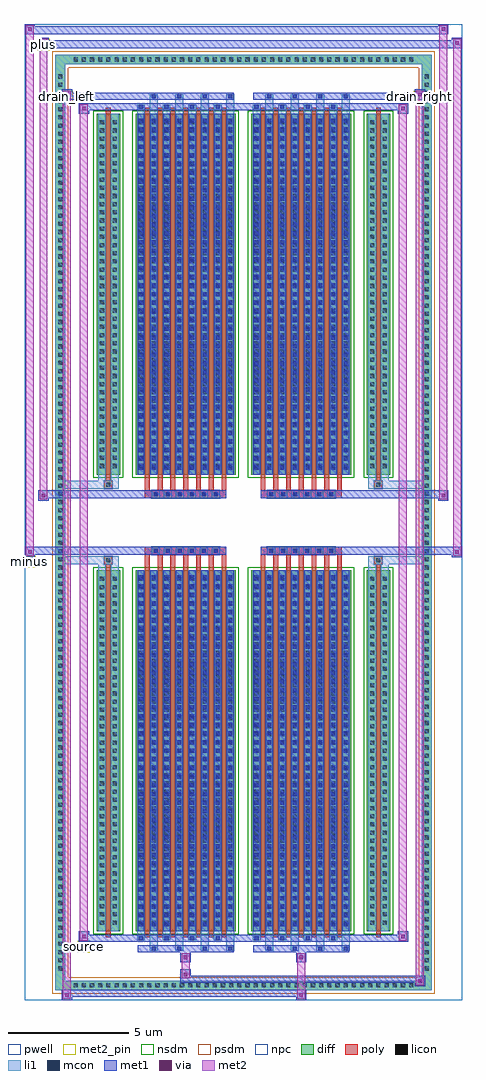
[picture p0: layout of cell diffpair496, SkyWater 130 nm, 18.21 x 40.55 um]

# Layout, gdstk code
import gdstk
lib = gdstk.Library(unit=1e-6, precision=5e-09)
def R(c, l, rs):  # rectangles x0, y0, x1, y1
    for r in rs: c.add(gdstk.rectangle(r[:2], r[2:], *l))
def A(c, l, x, y, w, h, nx, ny, dx, dy):  # array of equal rectangles
    R(c, l, [(x+i*dx, y+j*dy, x+i*dx+w, y+j*dy+h) for i in range(nx) for j in range(ny)])
def P(c, l, *ps):  # polygons
    for p in ps: c.add(gdstk.Polygon(p, *l))
pwell = (64, 44)
diff = (65, 20)
poly = (66, 20)
licon = (66, 44)
li1 = (67, 20)
mcon = (67, 44)
met1 = (68, 20)
via = (68, 44)
met2_pin = (69, 16)
met2 = (69, 20)
nsdm = (93, 44)
psdm = (94, 20)
npc = (95, 20)

diffpair496 = lib.new_cell('diffpair496')
R(diffpair496, pwell, [(-9.09,-19.84,9.09,20.71), (-6.41,-18.03,-0.01,-0.805), (0.01,-18.03,6.41,-0.805), (-6.41,0.805,-0.01,18.03), (0.01,0.805,6.41,18.03)])
A(diffpair496, diff, -7.175, -19.44, 0.41, 0.41, 42, 2, 0.34, 38.47)
A(diffpair496, diff, -7.82, -18.735, 0.41, 0.41, 1, 110, 0, 0.34)
A(diffpair496, diff, 7.41, -18.735, 0.41, 0.41, 1, 110, 0, 0.34)
R(diffpair496, diff, [(-7.175,-19.44,7.175,-19.03), (-7.82,-18.735,-7.41,18.735), (7.41,-18.735,7.82,18.735), (-6.1,-16.985,-5.12,-1.985), (-4.48,-16.985,-0.32,-1.985), (0.32,-16.985,4.48,-1.985), (5.12,-16.985,6.1,-1.985), (-6.1,1.985,-5.12,16.985), (-4.48,1.985,-0.32,16.985), (0.32,1.985,4.48,16.985), (5.12,1.985,6.1,16.985), (-7.175,19.03,7.175,19.44)])
P(diffpair496, diff, [(7.82,19.44),(-7.82,19.44),(-7.82,-19.03),(-7.41,-19.03),(-7.41,19.03),(7.41,19.03),(7.41,-19.03),(-7.41,-19.03),(-7.82,-19.03),(-7.82,-19.44),(7.82,-19.44)])
A(diffpair496, poly, -4.09, -17.235, 0.2, 15.5, 7, 2, 0.53, 18.97)
A(diffpair496, poly, 0.71, -17.235, 0.2, 15.5, 7, 2, 0.53, 18.97)
A(diffpair496, poly, -4.09, -1.735, 0.2, 0.4, 7, 2, 0.53, 3.07)
A(diffpair496, poly, 0.71, -1.735, 0.2, 0.4, 7, 2, 0.53, 3.07)
A(diffpair496, poly, -3.815, -1.335, 0.33, 0.33, 6, 2, 0.5, 2.34)
A(diffpair496, poly, 0.985, -1.335, 0.33, 0.33, 6, 2, 0.5, 2.34)
R(diffpair496, poly, [(-5.71,-17.235,-5.51,-1.735), (5.51,-17.235,5.71,-1.735), (-5.775,-1.735,-5.445,-1.405), (-5.775,-1.735,-5.445,-1.405), (5.445,-1.735,5.775,-1.405), (5.445,-1.735,5.775,-1.405), (-4.09,-1.335,-0.71,-1.005), (0.71,-1.335,4.09,-1.005), (-4.09,1.005,-0.71,1.335), (0.71,1.005,4.09,1.335), (-5.775,1.405,-5.445,1.735), (-5.775,1.405,-5.445,1.735), (5.445,1.405,5.775,1.735), (5.445,1.405,5.775,1.735), (-5.71,1.735,-5.51,17.235), (5.51,1.735,5.71,17.235)])
A(diffpair496, licon, -7.055, -19.32, 0.17, 0.17, 42, 2, 0.34, 38.47)
A(diffpair496, licon, -7.7, -18.615, 0.17, 0.17, 1, 110, 0, 0.34)
A(diffpair496, licon, 7.53, -18.615, 0.17, 0.17, 1, 110, 0, 0.34)
A(diffpair496, licon, -5.96, -16.71, 0.17, 0.17, 1, 43, 0, 0.34)
A(diffpair496, licon, -5.43, -16.71, 0.17, 0.17, 1, 43, 0, 0.34)
A(diffpair496, licon, -4.34, -16.71, 0.17, 0.17, 8, 43, 0.53, 0.34)
A(diffpair496, licon, 0.46, -16.71, 0.17, 0.17, 8, 43, 0.53, 0.34)
A(diffpair496, licon, 5.26, -16.71, 0.17, 0.17, 1, 43, 0, 0.34)
A(diffpair496, licon, 5.79, -16.71, 0.17, 0.17, 1, 43, 0, 0.34)
A(diffpair496, licon, -3.735, -1.255, 0.17, 0.17, 6, 2, 0.5, 2.34)
A(diffpair496, licon, 1.065, -1.255, 0.17, 0.17, 6, 2, 0.5, 2.34)
A(diffpair496, licon, -5.96, 2.26, 0.17, 0.17, 1, 43, 0, 0.34)
A(diffpair496, licon, -5.43, 2.26, 0.17, 0.17, 1, 43, 0, 0.34)
A(diffpair496, licon, -4.34, 2.26, 0.17, 0.17, 8, 43, 0.53, 0.34)
A(diffpair496, licon, 0.46, 2.26, 0.17, 0.17, 8, 43, 0.53, 0.34)
A(diffpair496, licon, 5.26, 2.26, 0.17, 0.17, 1, 43, 0, 0.34)
A(diffpair496, licon, 5.79, 2.26, 0.17, 0.17, 1, 43, 0, 0.34)
R(diffpair496, licon, [(-5.695,-1.655,-5.525,-1.485), (5.525,-1.655,5.695,-1.485), (-5.695,1.485,-5.525,1.655), (5.525,1.485,5.695,1.655)])
A(diffpair496, li1, -7.135, -19.4, 0.33, 0.33, 42, 2, 0.34, 38.47)
A(diffpair496, li1, -7.78, -18.695, 0.33, 0.33, 1, 110, 0, 0.34)
A(diffpair496, li1, 7.45, -18.695, 0.33, 0.33, 1, 110, 0, 0.34)
A(diffpair496, li1, -3.89, -17.79, 0.33, 0.805, 4, 2, 1.06, 34.775)
A(diffpair496, li1, -3.81, -17.79, 0.17, 0.17, 4, 2, 1.06, 35.41)
A(diffpair496, li1, 0.91, -17.79, 0.33, 0.805, 4, 2, 1.06, 34.775)
A(diffpair496, li1, 0.99, -17.79, 0.17, 0.17, 4, 2, 1.06, 35.41)
A(diffpair496, li1, -4.42, -17.36, 0.33, 0.375, 4, 2, 1.06, 34.345)
A(diffpair496, li1, -4.34, -17.36, 0.17, 0.17, 4, 2, 1.06, 34.55)
A(diffpair496, li1, 0.38, -17.36, 0.33, 0.375, 4, 2, 1.06, 34.345)
A(diffpair496, li1, 0.46, -17.36, 0.17, 0.17, 4, 2, 1.06, 34.55)
A(diffpair496, li1, -4.42, -16.985, 0.33, 15, 8, 2, 0.53, 18.97)
A(diffpair496, li1, 0.38, -16.985, 0.33, 15, 8, 2, 0.53, 18.97)
A(diffpair496, li1, -6.04, -16.79, 0.33, 0.33, 1, 43, 0, 0.34)
A(diffpair496, li1, -5.51, -16.79, 0.33, 0.33, 1, 43, 0, 0.34)
A(diffpair496, li1, -4.42, -16.79, 0.33, 0.33, 8, 43, 0.53, 0.34)
A(diffpair496, li1, 0.38, -16.79, 0.33, 0.33, 8, 43, 0.53, 0.34)
A(diffpair496, li1, 5.18, -16.79, 0.33, 0.33, 1, 43, 0, 0.34)
A(diffpair496, li1, 5.71, -16.79, 0.33, 0.33, 1, 43, 0, 0.34)
A(diffpair496, li1, -4.34, -16.77, 0.17, 0.17, 8, 41, 0.53, 0.36)
A(diffpair496, li1, -4.34, -16.77, 0.17, 14.57, 8, 2, 0.53, 18.97)
A(diffpair496, li1, 0.46, -16.77, 0.17, 0.17, 8, 41, 0.53, 0.36)
A(diffpair496, li1, 0.46, -16.77, 0.17, 14.57, 8, 2, 0.53, 18.97)
A(diffpair496, li1, -3.815, -1.335, 0.33, 0.33, 6, 2, 0.5, 2.34)
A(diffpair496, li1, 0.985, -1.335, 0.33, 0.33, 6, 2, 0.5, 2.34)
A(diffpair496, li1, -6.04, 2.18, 0.33, 0.33, 1, 43, 0, 0.34)
A(diffpair496, li1, -5.51, 2.18, 0.33, 0.33, 1, 43, 0, 0.34)
A(diffpair496, li1, -4.42, 2.18, 0.33, 0.33, 8, 43, 0.53, 0.34)
A(diffpair496, li1, 0.38, 2.18, 0.33, 0.33, 8, 43, 0.53, 0.34)
A(diffpair496, li1, 5.18, 2.18, 0.33, 0.33, 1, 43, 0, 0.34)
A(diffpair496, li1, 5.71, 2.18, 0.33, 0.33, 1, 43, 0, 0.34)
A(diffpair496, li1, -4.34, 2.2, 0.17, 0.17, 8, 41, 0.53, 0.36)
A(diffpair496, li1, 0.46, 2.2, 0.17, 0.17, 8, 41, 0.53, 0.36)
R(diffpair496, li1, [(-7.82,-19.44,-7.41,-19.03), (-7.82,-19.44,-7.41,-19.03), (-7.41,-19.44,7.41,-19.03), (7.41,-19.44,7.82,-19.03), (7.41,-19.44,7.82,-19.03), (-7.82,-19.03,-7.41,19.03), (7.41,-19.03,7.82,19.03), (-6.04,-16.985,-5.71,-1.985), (-5.51,-16.985,-5.18,-1.985), (5.18,-16.985,5.51,-1.985), (5.71,-16.985,6.04,-1.985), (-6.04,-1.985,-5.71,-1.405), (-5.51,-1.985,-5.18,-1.405), (5.18,-1.985,5.51,-1.405), (5.71,-1.985,6.04,-1.405), (-7.82,-1.735,-5.775,-1.405), (-6.04,-1.735,-5.775,-1.405), (-5.775,-1.735,-5.445,-1.405), (-5.445,-1.735,-5.18,-1.405), (5.18,-1.735,5.445,-1.405), (5.445,-1.735,5.775,-1.405), (5.445,-1.735,7.82,-1.405), (5.775,-1.735,6.04,-1.405), (-7.82,1.405,-5.775,1.735), (-6.04,1.405,-5.775,1.735), (-6.04,1.405,-5.71,1.985), (-5.775,1.405,-5.445,1.735), (-5.51,1.405,-5.18,1.985), (-5.445,1.405,-5.18,1.735), (5.18,1.405,5.445,1.735), (5.18,1.405,5.51,1.985), (5.445,1.405,5.775,1.735), (5.445,1.405,7.82,1.735), (5.71,1.405,6.04,1.985), (5.775,1.405,6.04,1.735), (-6.04,1.985,-5.71,16.985), (-5.51,1.985,-5.18,16.985), (5.18,1.985,5.51,16.985), (5.71,1.985,6.04,16.985), (-7.82,19.03,-7.41,19.44), (-7.82,19.03,-7.41,19.44), (-7.41,19.03,7.41,19.44), (7.41,19.03,7.82,19.44), (7.41,19.03,7.82,19.44)])
A(diffpair496, mcon, -3.81, -17.79, 0.17, 0.17, 4, 2, 1.06, 35.41)
A(diffpair496, mcon, 0.99, -17.79, 0.17, 0.17, 4, 2, 1.06, 35.41)
A(diffpair496, mcon, -4.34, -17.36, 0.17, 0.17, 4, 2, 1.06, 34.55)
A(diffpair496, mcon, 0.46, -17.36, 0.17, 0.17, 4, 2, 1.06, 34.55)
A(diffpair496, mcon, -4.34, -16.77, 0.17, 0.17, 8, 41, 0.53, 0.36)
A(diffpair496, mcon, 0.46, -16.77, 0.17, 0.17, 8, 41, 0.53, 0.36)
A(diffpair496, mcon, -3.735, -1.255, 0.17, 0.17, 6, 2, 0.5, 2.34)
A(diffpair496, mcon, 1.065, -1.255, 0.17, 0.17, 6, 2, 0.5, 2.34)
A(diffpair496, mcon, -4.34, 2.2, 0.17, 0.17, 8, 41, 0.53, 0.36)
A(diffpair496, mcon, 0.46, 2.2, 0.17, 0.17, 8, 41, 0.53, 0.36)
A(diffpair496, met1, -3.87, -17.85, 0.29, 0.29, 4, 2, 1.06, 35.41)
A(diffpair496, met1, 0.93, -17.85, 0.29, 0.29, 4, 2, 1.06, 35.41)
A(diffpair496, met1, -4.4, -17.42, 0.29, 0.29, 4, 2, 1.06, 34.55)
A(diffpair496, met1, 0.4, -17.42, 0.29, 0.29, 4, 2, 1.06, 34.55)
A(diffpair496, met1, -4.4, -16.985, 0.29, 15, 8, 2, 0.53, 18.97)
A(diffpair496, met1, 0.4, -16.985, 0.29, 15, 8, 2, 0.53, 18.97)
A(diffpair496, met1, -4.4, -16.83, 0.29, 0.29, 8, 41, 0.53, 0.36)
A(diffpair496, met1, 0.4, -16.83, 0.29, 0.29, 8, 41, 0.53, 0.36)
A(diffpair496, met1, -3.795, -1.315, 0.29, 0.29, 6, 2, 0.5, 2.34)
A(diffpair496, met1, 1.005, -1.315, 0.29, 0.29, 6, 2, 0.5, 2.34)
A(diffpair496, met1, -4.4, 2.14, 0.29, 0.29, 8, 41, 0.53, 0.36)
A(diffpair496, met1, 0.4, 2.14, 0.29, 0.29, 8, 41, 0.53, 0.36)
R(diffpair496, met1, [(-7.55,-19.84,-7.12,-19.41), (2.185,-19.84,2.615,-19.41), (-7.55,-19.7,2.615,-19.41), (7.12,-19.27,7.55,-18.84), (-2.615,-19.13,7.55,-18.84), (-2.615,-18.99,-2.185,-18.56), (-2.615,-18.28,-2.185,-17.85), (2.185,-18.28,2.615,-17.85), (-4.4,-17.85,-0.4,-17.56), (0.4,-17.85,4.4,-17.56), (-6.84,-17.42,-6.41,-16.99), (-6.84,-17.42,-4.4,-17.13), (-4.4,-17.42,-0.4,-17.13), (-0.4,-17.42,0.4,-17.13), (0.4,-17.42,4.4,-17.13), (4.4,-17.42,6.84,-17.13), (6.41,-17.42,6.84,-16.99), (-9.09,-1.435,-8.66,-1.005), (8.66,-1.435,9.09,-1.005), (-9.09,-1.335,-0.71,-1.005), (-4.09,-1.335,-0.71,-1.005), (0.71,-1.335,4.09,-1.005), (0.71,-1.335,9.09,-1.005), (-8.52,0.905,-8.09,1.335), (8.09,0.905,8.52,1.335), (-8.52,1.005,-4.09,1.335), (-4.09,1.005,-0.71,1.335), (0.71,1.005,4.09,1.335), (4.09,1.005,8.52,1.335), (-6.84,16.99,-6.41,17.42), (6.41,16.99,6.84,17.42), (-6.84,17.13,-4.4,17.42), (-4.4,17.13,-0.4,17.42), (-0.4,17.13,0.4,17.42), (0.4,17.13,4.4,17.42), (4.4,17.13,6.84,17.42), (-7.55,17.56,-7.12,17.99), (-7.55,17.56,-4.4,17.85), (-4.4,17.56,-0.4,17.85), (0.4,17.56,4.4,17.85), (4.4,17.56,7.55,17.85), (7.12,17.56,7.55,17.99), (-8.52,19.71,-8.09,20.14), (-8.52,19.71,-6.41,20.04), (-6.41,19.71,6.41,20.04), (6.41,19.71,9.09,20.04), (8.66,19.71,9.09,20.14), (-9.09,20.28,-8.66,20.71), (-9.09,20.28,-6.41,20.61), (-6.41,20.28,6.41,20.61), (6.41,20.28,8.52,20.61), (8.09,20.28,8.52,20.71)])
R(diffpair496, via, [(-7.41,-19.7,-7.26,-19.55), (2.325,-19.7,2.475,-19.55), (7.26,-19.13,7.41,-18.98), (-2.475,-18.85,-2.325,-18.7), (-2.475,-18.14,-2.325,-17.99), (2.325,-18.14,2.475,-17.99), (-6.7,-17.28,-6.55,-17.13), (6.55,-17.28,6.7,-17.13), (-8.95,-1.295,-8.8,-1.145), (8.8,-1.295,8.95,-1.145), (-8.38,1.045,-8.23,1.195), (8.23,1.045,8.38,1.195), (-6.7,17.13,-6.55,17.28), (6.55,17.13,6.7,17.28), (-7.41,17.7,-7.26,17.85), (7.26,17.7,7.41,17.85), (-8.38,19.85,-8.23,20), (8.8,19.85,8.95,20), (-8.95,20.42,-8.8,20.57), (8.23,20.42,8.38,20.57)])
R(diffpair496, met2_pin, [(-6.875,-17.87,-6.375,-17.37), (-9.125,-1.885,-8.625,-1.385), (-7.585,17.44,-7.085,17.94), (7.085,17.44,7.585,17.94), (-8.555,19.59,-8.055,20.09)])
R(diffpair496, met2, [(-7.5,-19.79,-7.17,-19.46), (-7.5,-19.79,-7.17,17.94), (2.235,-19.79,2.565,-19.46), (2.235,-19.46,2.565,-18.23), (7.17,-19.22,7.5,-18.89), (7.17,-19.22,7.5,17.94), (-2.565,-18.94,-2.235,-18.61), (-2.565,-18.61,-2.235,-18.23), (-2.565,-18.23,-2.235,-17.9), (2.235,-18.23,2.565,-17.9), (-6.79,-17.37,-6.46,-17.04), (-6.79,-17.37,-6.46,17.37), (6.46,-17.37,6.79,-17.04), (6.46,-17.37,6.79,17.37), (-9.04,-1.385,-8.71,-1.055), (-9.04,-1.385,-8.71,20.66), (8.71,-1.385,9.04,-1.055), (8.71,-1.385,9.04,20.09), (-8.47,0.955,-8.14,1.285), (-8.47,0.955,-8.14,20.09), (8.14,0.955,8.47,1.285), (8.14,0.955,8.47,20.66), (-6.79,17.04,-6.46,17.37), (6.46,17.04,6.79,17.37), (-7.5,17.61,-7.17,17.94), (7.17,17.61,7.5,17.94), (-8.47,19.76,-8.14,20.09), (8.71,19.76,9.04,20.09), (-9.04,20.33,-8.71,20.66), (8.14,20.33,8.47,20.66)])
P(diffpair496, met2, [(9.04,-1.385),(9.04,-1.385),(9.04,-1.055),(9.04,-1.055)],
  [(9.04,19.76),(9.04,19.76),(9.04,20.09),(9.04,20.09)],
  [(-8.71,-1.385),(-8.71,-1.385),(-8.71,-1.055),(-8.71,-1.055)],
  [(-8.71,20.33),(-8.71,20.33),(-8.71,20.66),(-8.71,20.66)],
  [(8.47,0.955),(8.47,0.955),(8.47,1.285),(8.47,1.285)],
  [(8.47,20.33),(8.47,20.33),(8.47,20.66),(8.47,20.66)],
  [(-8.14,0.955),(-8.14,0.955),(-8.14,1.285),(-8.14,1.285)],
  [(-8.14,19.76),(-8.14,19.76),(-8.14,20.09),(-8.14,20.09)],
  [(-7.17,-19.79),(-7.17,-19.79),(-7.17,-19.46),(-7.17,-19.46)],
  [(-7.17,17.61),(-7.17,17.61),(-7.17,17.94),(-7.17,17.94)],
  [(7.5,-19.22),(7.5,-19.22),(7.5,-18.89),(7.5,-18.89)],
  [(7.5,17.61),(7.5,17.61),(7.5,17.94),(7.5,17.94)],
  [(-6.46,-17.37),(-6.46,-17.37),(-6.46,-17.04),(-6.46,-17.04)],
  [(-6.46,17.04),(-6.46,17.04),(-6.46,17.37),(-6.46,17.37)],
  [(6.79,-17.37),(6.79,-17.37),(6.79,-17.04),(6.79,-17.04)],
  [(6.79,17.04),(6.79,17.04),(6.79,17.37),(6.79,17.37)])
R(diffpair496, nsdm, [(-6.23,-17.115,-4.99,-1.855), (-4.61,-17.115,-0.19,-1.855), (0.19,-17.115,4.61,-1.855), (4.99,-17.115,6.23,-1.855), (-6.23,1.855,-4.99,17.115), (-4.61,1.855,-0.19,17.115), (0.19,1.855,4.61,17.115), (4.99,1.855,6.23,17.115)])
P(diffpair496, psdm, [(7.95,19.57),(-7.95,19.57),(-7.95,-18.9),(-7.28,-18.9),(-7.28,18.9),(7.28,18.9),(7.28,-18.9),(-7.28,-18.9),(-7.95,-18.9),(-7.95,-19.57),(7.95,-19.57)])
A(diffpair496, npc, -3.835, -1.355, 0.37, 0.37, 6, 2, 0.5, 2.34)
A(diffpair496, npc, 0.965, -1.355, 0.37, 0.37, 6, 2, 0.5, 2.34)
R(diffpair496, npc, [(-5.795,-1.755,-5.425,-1.385), (5.425,-1.755,5.795,-1.385), (-3.835,-1.355,-2.965,-0.985), (-3.835,-1.355,-2.965,-0.985), (-3.335,-1.355,-2.465,-0.985), (-3.335,-1.355,-2.465,-0.985), (-2.835,-1.355,-1.965,-0.985), (-2.835,-1.355,-1.965,-0.985), (-2.335,-1.355,-1.465,-0.985), (-2.335,-1.355,-1.465,-0.985), (-1.835,-1.355,-0.965,-0.985), (-1.835,-1.355,-0.965,-0.985), (0.965,-1.355,1.835,-0.985), (0.965,-1.355,1.835,-0.985), (1.465,-1.355,2.335,-0.985), (1.465,-1.355,2.335,-0.985), (1.965,-1.355,2.835,-0.985), (1.965,-1.355,2.835,-0.985), (2.465,-1.355,3.335,-0.985), (2.465,-1.355,3.335,-0.985), (2.965,-1.355,3.835,-0.985), (2.965,-1.355,3.835,-0.985), (-3.835,0.985,-2.965,1.355), (-3.835,0.985,-2.965,1.355), (-3.335,0.985,-2.465,1.355), (-3.335,0.985,-2.465,1.355), (-2.835,0.985,-1.965,1.355), (-2.835,0.985,-1.965,1.355), (-2.335,0.985,-1.465,1.355), (-2.335,0.985,-1.465,1.355), (-1.835,0.985,-0.965,1.355), (-1.835,0.985,-0.965,1.355), (0.965,0.985,1.835,1.355), (0.965,0.985,1.835,1.355), (1.465,0.985,2.335,1.355), (1.465,0.985,2.335,1.355), (1.965,0.985,2.835,1.355), (1.965,0.985,2.835,1.355), (2.465,0.985,3.335,1.355), (2.465,0.985,3.335,1.355), (2.965,0.985,3.835,1.355), (2.965,0.985,3.835,1.355), (-5.795,1.385,-5.425,1.755), (5.425,1.385,5.795,1.755)])
diffpair496.add(gdstk.Label('minus', (-8.875,-1.635), layer=69, texttype=5))
diffpair496.add(gdstk.Label('drain_right', (7.335,17.69), layer=69, texttype=5))
diffpair496.add(gdstk.Label('drain_left', (-7.335,17.69), layer=69, texttype=5))
diffpair496.add(gdstk.Label('source', (-6.625,-17.62), layer=69, texttype=5))
diffpair496.add(gdstk.Label('plus', (-8.305,19.84), layer=69, texttype=5))

lib.write_gds('diffpair496.gds')
